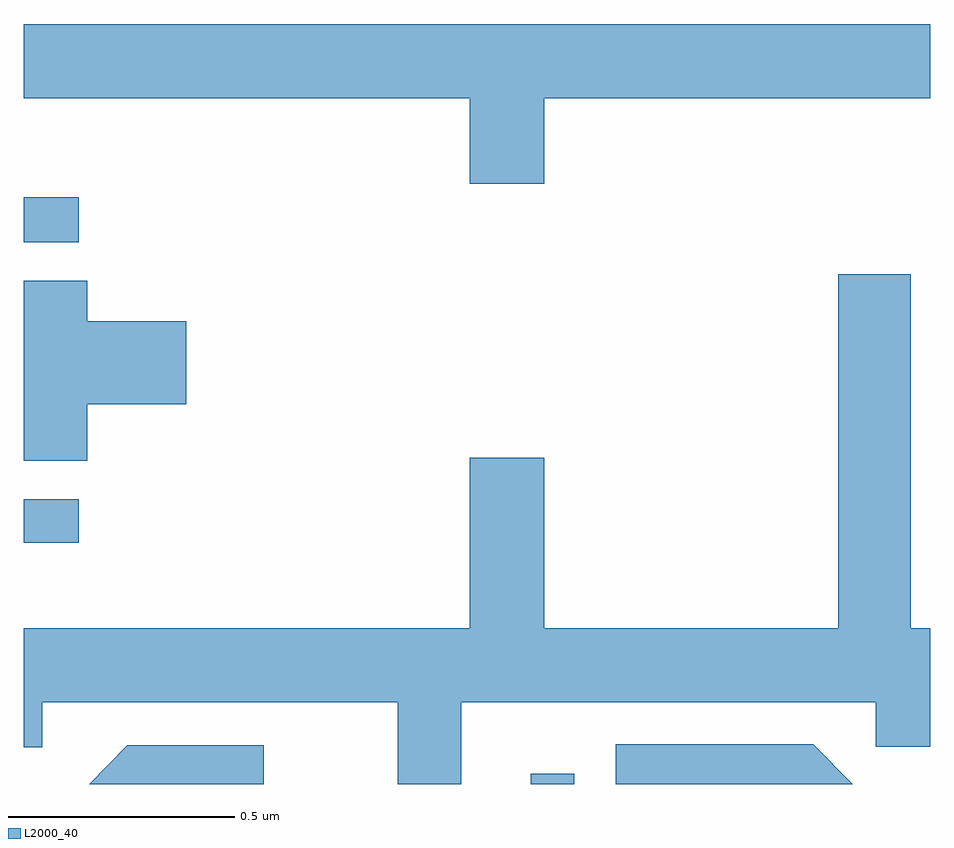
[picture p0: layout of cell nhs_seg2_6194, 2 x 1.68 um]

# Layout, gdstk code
import gdstk
lib = gdstk.Library(unit=1e-6, precision=1e-09)
def R(c, l, rs):  # rectangles x0, y0, x1, y1
    for r in rs: c.add(gdstk.rectangle(r[:2], r[2:], *l))
def P(c, l, *ps):  # polygons
    for p in ps: c.add(gdstk.Polygon(p, *l))
L2000_40 = (2000, 40)

nhs_seg2_6194 = lib.new_cell('nhs_seg2_6194')
R(nhs_seg2_6194, L2000_40, [(189.119,636.8,189.215,636.823), (188,637.332,188.122,637.428), (188,637.995,188.122,638.094)])
P(nhs_seg2_6194, L2000_40, [(189.148,638.312),(190,638.312),(190,638.476),(188,638.476),(188,638.312),(188.984,638.312),(188.984,638.124),(189.148,638.124)],
  [(188.965,636.98),(189.879,636.98),(189.879,636.882),(190,636.882),(190,637.144),(189.957,637.144),(189.957,637.924),(189.797,637.924),(189.797,637.144),(189.148,637.144),(189.148,637.519),(188.984,637.519),(188.984,637.144),(188,637.144),(188,636.881),(188.041,636.881),(188.041,636.98),(188.825,636.98),(188.825,636.8),(188.965,636.8)],
  [(188.141,637.637),(188.359,637.637),(188.359,637.82),(188.141,637.82),(188.141,637.91),(188,637.91),(188,637.513),(188.141,637.513)],
  [(189.741,636.888),(189.306,636.888),(189.306,636.8),(189.829,636.8)],
  [(188.53,636.885),(188.229,636.885),(188.145,636.8),(188.53,636.8)])

lib.write_gds('nhs_seg2_6194.gds')
